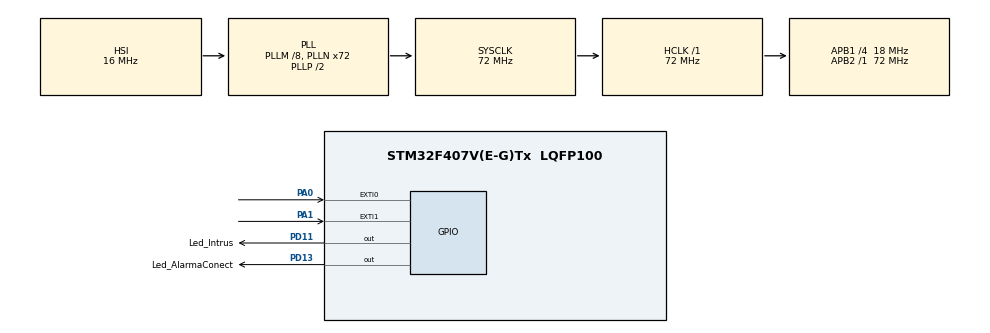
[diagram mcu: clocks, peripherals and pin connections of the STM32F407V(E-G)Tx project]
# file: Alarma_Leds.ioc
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Mcu.Family=STM32F4
Mcu.Name=STM32F407V(E-G)Tx
Mcu.Package=LQFP100
NVIC.EXTI0_IRQn=true\:0\:0\:false\:false\:true\:true\:true
NVIC.EXTI1_IRQn=true\:0\:0\:false\:false\:true\:true\:true
NVIC.PriorityGroup=NVIC_PRIORITYGROUP_4
PA0-WKUP.Signal=GPXTI0
PA1.Signal=GPXTI1
PD11.GPIO_Label=Led_Intrus
PD11.GPIO_ModeDefaultOutputPP=GPIO_MODE_OUTPUT_PP
PD11.PinState=GPIO_PIN_RESET
PD11.Signal=GPIO_Output
PD13.GPIO_Label=Led_AlarmaConect
PD13.GPIO_ModeDefaultOutputPP=GPIO_MODE_OUTPUT_PP
PD13.PinState=GPIO_PIN_RESET
PD13.Signal=GPIO_Output
ProjectManager.HeapSize=0x200
ProjectManager.StackSize=0x400
ProjectManager.TargetToolchain=STM32CubeIDE
RCC.48MHZClocksFreq_Value=36000000
RCC.AHBFreq_Value=72000000
RCC.APB1CLKDivider=RCC_HCLK_DIV4
RCC.APB1Freq_Value=18000000
RCC.APB1TimFreq_Value=36000000
RCC.APB2Freq_Value=72000000
RCC.APB2TimFreq_Value=72000000
RCC.CortexFreq_Value=72000000
RCC.HCLKFreq_Value=72000000
RCC.HSE_VALUE=8000000
RCC.HSI_VALUE=16000000
RCC.LSE_VALUE=32768
RCC.PLLM=8
RCC.PLLN=72
RCC.SYSCLKFreq_VALUE=72000000
RCC.SYSCLKSource=RCC_SYSCLKSOURCE_PLLCLK
RCC.VCOOutputFreq_Value=144000000
board=custom

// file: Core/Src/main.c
/* USER CODE BEGIN Header */
/*
Programa que simula la acción de los leds de la alarma:
El led blanco se encenderá en caso de que se encienda la alarma con el boton 1
El led rojo, indica que se ha identificado un intruso(en este programa es el boton2) ->alarma activa
La alarma no se desactiva salvo que se apague(boton 1)
La alarma no se activa salvo que la alarma esté encendida
 * */
/**
  ******************************************************************************
  * @file           : main.c
  * @brief          : Main program body
  ******************************************************************************
  * @attention
  *
  * <h2><center>&copy; Copyright (c) 2020 STMicroelectronics.
  * All rights reserved.</center></h2>
  *
  * This software component is licensed by ST under BSD 3-Clause license,
  * the "License"; You may not use this file except in compliance with the
  * License. You may obtain a copy of the License at:
  *                        opensource.org/licenses/BSD-3-Clause
  *
  ******************************************************************************
  */
/* USER CODE END Header */
#include "main.h"

void SystemClock_Config(void);
static void MX_GPIO_Init(void);

/* USER CODE BEGIN 0 */
volatile int encendido=0;
volatile int intruso=0;
void HAL_GPIO_EXTI_Callback(uint16_t GPIO_Pin){

	if (GPIO_Pin==GPIO_PIN_0) //encendido y apagado de la alarma
	{
		if(encendido){
			intruso=0;
			encendido=0;
		}
		else
			encendido=1;

	}
	if (GPIO_Pin==GPIO_PIN_1){ //señal de alarma
		if(encendido){
			intruso=1;
		}
	}
}

/* USER CODE END 0 */

int main(void)
{

  /* MCU Configuration--------------------------------------------------------*/

  /* Reset of all peripherals, Initializes the Flash interface and the Systick. */
  HAL_Init();

  /* Configure the system clock */
  SystemClock_Config();

  /* Initialize all configured peripherals */
  MX_GPIO_Init();

  /* Infinite loop */
  while (1)
  {

    /* USER CODE BEGIN 3 */
		if(encendido){ //se ha encendido la alarma
			HAL_GPIO_WritePin(GPIOD,GPIO_PIN_13,1); //led blanco indica que la alarma está ON
			if(intruso){ // se activa la emergencia
				HAL_GPIO_TogglePin(GPIOD,GPIO_PIN_11); //blink led rojo-> hay una emergencia
				HAL_Delay(200);
			}
		}
		else{ //si se apaga la alarma se apagan todos los leds
			HAL_GPIO_WritePin(GPIOD,GPIO_PIN_13,0);
			HAL_GPIO_WritePin(GPIOD,GPIO_PIN_11,0);
		}

  }
  /* USER CODE END 3 */
}

void SystemClock_Config(void)
{
  RCC_OscInitTypeDef RCC_OscInitStruct = {0};
  RCC_ClkInitTypeDef RCC_ClkInitStruct = {0};

  /** Configure the main internal regulator output voltage
  */
  __HAL_RCC_PWR_CLK_ENABLE();
  __HAL_PWR_VOLTAGESCALING_CONFIG(PWR_REGULATOR_VOLTAGE_SCALE1);
  /** Initializes the RCC Oscillators according to the specified parameters
  * in the RCC_OscInitTypeDef structure.
  */
  RCC_OscInitStruct.OscillatorType = RCC_OSCILLATORTYPE_HSI;
  RCC_OscInitStruct.HSIState = RCC_HSI_ON;
  RCC_OscInitStruct.HSICalibrationValue = RCC_HSICALIBRATION_DEFAULT;
  RCC_OscInitStruct.PLL.PLLState = RCC_PLL_ON;
  RCC_OscInitStruct.PLL.PLLSource = RCC_PLLSOURCE_HSI;
  RCC_OscInitStruct.PLL.PLLM = 8;
  RCC_OscInitStruct.PLL.PLLN = 72;
  RCC_OscInitStruct.PLL.PLLP = RCC_PLLP_DIV2;
  RCC_OscInitStruct.PLL.PLLQ = 4;
  if (HAL_RCC_OscConfig(&RCC_OscInitStruct) != HAL_OK)
  {
    Error_Handler();
  }
  /** Initializes the CPU, AHB and APB buses clocks
  */
  RCC_ClkInitStruct.ClockType = RCC_CLOCKTYPE_HCLK|RCC_CLOCKTYPE_SYSCLK
                              |RCC_CLOCKTYPE_PCLK1|RCC_CLOCKTYPE_PCLK2;
  RCC_ClkInitStruct.SYSCLKSource = RCC_SYSCLKSOURCE_PLLCLK;
  RCC_ClkInitStruct.AHBCLKDivider = RCC_SYSCLK_DIV1;
  RCC_ClkInitStruct.APB1CLKDivider = RCC_HCLK_DIV4;
  RCC_ClkInitStruct.APB2CLKDivider = RCC_HCLK_DIV1;

  if (HAL_RCC_ClockConfig(&RCC_ClkInitStruct, FLASH_LATENCY_2) != HAL_OK)
  {
    Error_Handler();
  }
}

static void MX_GPIO_Init(void)
{
  GPIO_InitTypeDef GPIO_InitStruct = {0};

  /* GPIO Ports Clock Enable */
  __HAL_RCC_GPIOA_CLK_ENABLE();
  __HAL_RCC_GPIOD_CLK_ENABLE();

  /*Configure GPIO pin Output Level */
  HAL_GPIO_WritePin(GPIOD, Led_Intrus_Pin|Led_AlarmaConect_Pin, GPIO_PIN_RESET);

  /*Configure GPIO pins : PA0 PA1 */
  GPIO_InitStruct.Pin = GPIO_PIN_0|GPIO_PIN_1;
  GPIO_InitStruct.Mode = GPIO_MODE_IT_RISING;
  GPIO_InitStruct.Pull = GPIO_NOPULL;
  HAL_GPIO_Init(GPIOA, &GPIO_InitStruct);

  /*Configure GPIO pins : Led_Intrus_Pin Led_AlarmaConect_Pin */
  GPIO_InitStruct.Pin = Led_Intrus_Pin|Led_AlarmaConect_Pin;
  GPIO_InitStruct.Mode = GPIO_MODE_OUTPUT_PP;
  GPIO_InitStruct.Pull = GPIO_NOPULL;
  GPIO_InitStruct.Speed = GPIO_SPEED_FREQ_LOW;
  HAL_GPIO_Init(GPIOD, &GPIO_InitStruct);

  /* EXTI interrupt init*/
  HAL_NVIC_SetPriority(EXTI0_IRQn, 0, 0);
  HAL_NVIC_EnableIRQ(EXTI0_IRQn);

  HAL_NVIC_SetPriority(EXTI1_IRQn, 0, 0);
  HAL_NVIC_EnableIRQ(EXTI1_IRQn);

}

void Error_Handler(void)
{
}

/************************ (C) COPYRIGHT STMicroelectronics *****END OF FILE****/
